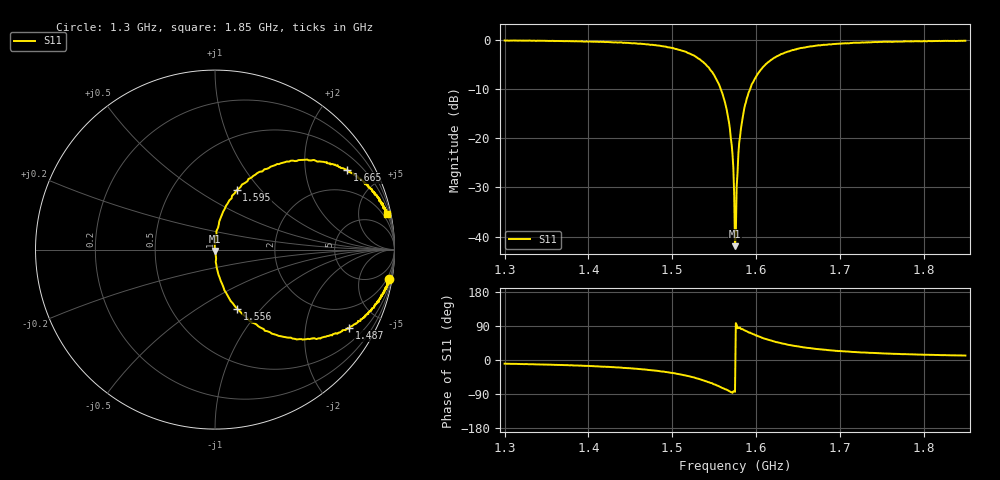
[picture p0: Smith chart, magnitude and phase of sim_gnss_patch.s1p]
! AntennaFox export: GNSS L1 patch (simulated) (sample-sim_gnss_patch)
! Instrument: AntennaFox,Simulator,SIM-0001,1.0
! Calibration (instrument-reported): SOLT_1 (simulated)
! Simulated: True
! Segment: GNSS context
# HZ S RI R 50
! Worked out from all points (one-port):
!   551 points, 1.3 GHz to 1.85 GHz, reference 50 ohm
!   lowest |S11| = -42.0 dB at 1.575 GHz (marker M1), VSWR 1.02, Z = 50.1 - j0.795 ohm
!   |S11| at or under -10 dB: 1.558 GHz to 1.593 GHz (35.11 MHz wide, 2.23 % of centre)
!   S11 on the Smith chart (normalised r, x): 1.3 GHz: 1, -12; 1.487 GHz: 0.99, -3.44; 1.556 GHz: 1.00, -0.75; 1.595 GHz: 0.99, +0.75; 1.665 GHz: 0.97, +3.33; 1.85 GHz: 0.94, +9.64
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1.3e9  0.9717 -0.1663
1.369e9  0.9466 -0.2249
1.438e9  0.8866 -0.3227
1.487e9  0.7479 -0.436
1.507e9  0.6373 -0.4788
1.537e9  0.354 -0.4805
1.548e9  0.223 -0.4123
1.556e9  0.1225 -0.3293
1.564e9  0.0464 -0.2077
1.569e9  0.0148 -0.1217
1.571e9  0.00769 -0.086
1.572e9  0.00404 -0.0692
1.574e9  0.00388 -0.027
1.575e9  0.000836 -0.00794
1.576e9  -0.0014 0.0108
1.577e9  -0.00132 0.0325
1.579e9  0.00514 0.0686
1.581e9  0.00764 0.1026
1.582e9  0.0172 0.1224
1.587e9  0.0462 0.2133
1.595e9  0.1211 0.3322
1.604e9  0.2252 0.4179
1.614e9  0.3467 0.4771
1.644e9  0.6237 0.4874
1.665e9  0.7367 0.4449
1.713e9  0.865 0.3433
1.782e9  0.9323 0.2525
1.85e9  0.9598 0.1994
